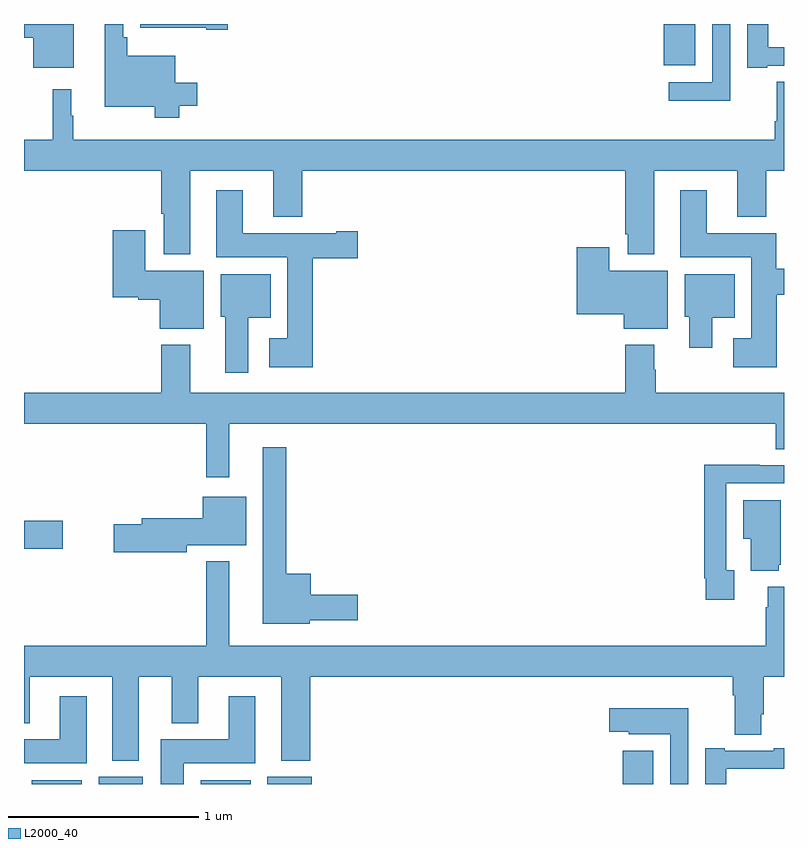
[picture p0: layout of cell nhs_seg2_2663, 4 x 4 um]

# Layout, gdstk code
import gdstk
lib = gdstk.Library(unit=1e-6, precision=1e-09)
def R(c, l, rs):  # rectangles x0, y0, x1, y1
    for r in rs: c.add(gdstk.rectangle(r[:2], r[2:], *l))
def P(c, l, *ps):  # polygons
    for p in ps: c.add(gdstk.Polygon(p, *l))
L2000_40 = (2000, 40)

nhs_seg2_2663 = lib.new_cell('nhs_seg2_2663')
R(nhs_seg2_2663, L2000_40, [(251.042,585.8,251.305,585.82), (251.393,585.8,251.626,585.838), (251.93,585.8,252.193,585.82), (252.281,585.8,252.514,585.838), (254.15,585.8,254.311,585.976), (251,587.039,251.203,587.186), (254.366,589.583,254.533,589.8)])
P(nhs_seg2_2663, L2000_40, [(254.718,589.8),(254.622,589.8),(254.622,589.494),(254.394,589.494),(254.394,589.397),(254.718,589.397)],
  [(251.263,589.8),(251,589.8),(251,589.727),(251.048,589.727),(251.048,589.571),(251.263,589.571)],
  [(254.911,589.581),(255,589.581),(255,589.677),(254.917,589.677),(254.917,589.8),(254.807,589.8),(254.807,589.569),(254.911,589.569)],
  [(251.816,589.37),(251.911,589.37),(251.911,589.492),(251.797,589.492),(251.797,589.633),(251.543,589.633),(251.543,589.729),(251.523,589.729),(251.523,589.8),(251.426,589.8),(251.426,589.364),(251.688,589.364),(251.688,589.307),(251.816,589.307)],
  [(252.073,589.8),(251.612,589.8),(251.612,589.781),(251.96,589.781),(251.96,589.769),(252.073,589.769)],
  [(251.875,589.028),(252.311,589.028),(252.311,588.785),(252.464,588.785),(252.464,589.028),(254.165,589.028),(254.165,588.694),(254.177,588.694),(254.177,588.587),(254.317,588.587),(254.317,589.028),(254.753,589.028),(254.753,588.785),(254.906,588.785),(254.906,589.028),(255,589.028),(255,589.496),(254.963,589.496),(254.963,589.288),(254.951,589.288),(254.951,589.192),(251.26,589.192),(251.26,589.316),(251.248,589.316),(251.248,589.456),(251.15,589.456),(251.15,589.192),(251,589.192),(251,589.028),(251.723,589.028),(251.723,588.802),(251.735,588.802),(251.735,588.587),(251.875,588.587)],
  [(252.521,588.566),(252.757,588.566),(252.757,588.708),(252.644,588.708),(252.644,588.7),(252.151,588.7),(252.151,588.925),(252.011,588.925),(252.011,588.572),(252.386,588.572),(252.386,588.145),(252.291,588.145),(252.291,587.993),(252.521,587.993)],
  [(254.963,588.376),(255,588.376),(255,588.512),(254.958,588.512),(254.958,588.7),(254.593,588.7),(254.593,588.925),(254.453,588.925),(254.453,588.572),(254.828,588.572),(254.828,588.145),(254.733,588.145),(254.733,587.993),(254.963,587.993)],
  [(251.947,588.502),(251.638,588.502),(251.638,588.715),(251.468,588.715),(251.468,588.362),(251.601,588.362),(251.601,588.35),(251.714,588.35),(251.714,588.197),(251.947,588.197)],
  [(254.389,588.502),(254.08,588.502),(254.08,588.625),(253.91,588.625),(253.91,588.272),(254.156,588.272),(254.156,588.197),(254.389,588.197)],
  [(254.623,588.254),(254.74,588.254),(254.74,588.484),(254.477,588.484),(254.477,588.258),(254.501,588.258),(254.501,588.096),(254.623,588.096)],
  [(252.181,588.254),(252.298,588.254),(252.298,588.484),(252.035,588.484),(252.035,588.258),(252.059,588.258),(252.059,587.964),(252.181,587.964)],
  [(252.079,587.696),(254.957,587.696),(254.957,587.563),(255,587.563),(255,587.86),(254.325,587.86),(254.325,587.981),(254.317,587.981),(254.317,588.112),(254.165,588.112),(254.165,587.86),(251.875,587.86),(251.875,588.112),(251.723,588.112),(251.723,587.86),(251,587.86),(251,587.696),(251.958,587.696),(251.958,587.415),(252.079,587.415)],
  [(252.504,586.661),(252.757,586.661),(252.757,586.796),(252.508,586.796),(252.508,586.906),(252.379,586.906),(252.379,587.572),(252.257,587.572),(252.257,586.643),(252.504,586.643)],
  [(254.737,586.926),(254.697,586.926),(254.697,587.382),(255,587.382),(255,587.478),(254.873,587.478),(254.873,587.48),(254.581,587.48),(254.581,586.882),(254.589,586.882),(254.589,586.77),(254.737,586.77)],
  [(251.856,587.057),(252.169,587.057),(252.169,587.311),(251.942,587.311),(251.942,587.198),(251.621,587.198),(251.621,587.168),(251.472,587.168),(251.472,587.021),(251.856,587.021)],
  [(254.972,586.953),(254.983,586.953),(254.983,587.293),(254.786,587.293),(254.786,587.09),(254.825,587.09),(254.825,586.922),(254.972,586.922)],
  [(251,586.121),(251.029,586.121),(251.029,586.364),(251.465,586.364),(251.465,585.923),(251.605,585.923),(251.605,586.364),(251.777,586.364),(251.777,586.121),(251.917,586.121),(251.917,586.364),(252.353,586.364),(252.353,585.923),(252.506,585.923),(252.506,586.364),(254.729,586.364),(254.729,586.268),(254.741,586.268),(254.741,586.06),(254.881,586.06),(254.881,586.168),(254.894,586.168),(254.894,586.364),(255,586.364),(255,586.837),(254.915,586.837),(254.915,586.73),(254.903,586.73),(254.903,586.528),(252.079,586.528),(252.079,586.972),(251.958,586.972),(251.958,586.528),(251,586.528)],
  [(251.329,586.261),(251.189,586.261),(251.189,586.036),(251,586.036),(251,585.908),(251.329,585.908)],
  [(251.842,585.908),(252.217,585.908),(252.217,586.261),(252.077,586.261),(252.077,586.036),(251.72,586.036),(251.72,585.8),(251.842,585.8)],
  [(254.496,586.198),(254.079,586.198),(254.079,586.076),(254.184,586.076),(254.184,586.061),(254.4,586.061),(254.4,585.8),(254.496,585.8)],
  [(254.695,585.879),(255,585.879),(255,585.988),(254.945,585.988),(254.945,585.975),(254.689,585.975),(254.689,585.988),(254.585,585.988),(254.585,585.8),(254.695,585.8)])

lib.write_gds('nhs_seg2_2663.gds')
